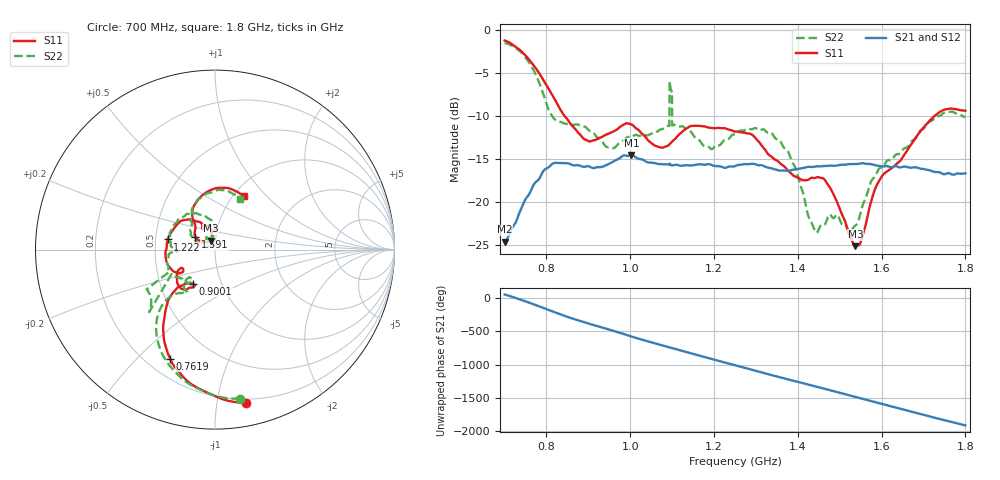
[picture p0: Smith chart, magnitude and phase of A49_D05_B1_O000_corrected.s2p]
! Created with skrf 1.9.0 (http://scikit-rf.org).
# Hz S RI R 50.0
!freq ReS11 ImS11 ReS21 ImS21 ReS12 ImS12 ReS22 ImS22
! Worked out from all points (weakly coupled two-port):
!   1601 points, 700 MHz to 1.8 GHz, reference 50 ohm
!   highest |S21| = -14.53 dB at 1.002 GHz (marker M1); lowest = -24.6 dB at 700 MHz (marker M2)
!   lowest |S11| = -25.1 dB at 1.537 GHz (marker M3), VSWR 1.12, Z = 47.4 + j4.76 ohm
!   |S11| at or under -10 dB: 843.6 MHz to 1.726 GHz (882.2 MHz wide, 68.7 % of centre)
!   |S22| runs from -23.6 to -1.5 dB; largest |S21 - S12| = 0.0034
!   S11 on the Smith chart (normalised r, x): 700 MHz: 0.17, -1.21; 761.9 MHz: 0.29, -0.63; 900.1 MHz: 0.73, -0.29; 1.222 GHz: 0.58, +0.07; 1.591 GHz: 0.80, +0.11; 1.8 GHz: 1.12, +0.76
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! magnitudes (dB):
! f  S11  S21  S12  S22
! 700 MHz  -1.2  -24.6  -24.4  -1.5
! 761.9 MHz  -3.7  -18.7  -18.7  -4.0
! 816.9 MHz  -7.8  -15.5  -15.6  -10.2
! 883.6 MHz  -12.3  -15.8  -15.7  -11.2
! 900.1 MHz  -12.9  -15.8  -15.8  -11.6
! 949.6 MHz  -12.0  -15.5  -15.5  -13.6
! 1.002 GHz  -10.9  -14.5  -14.6  -12.4
! 1.067 GHz  -13.6  -15.5  -15.5  -11.7
! 1.088 GHz  -13.5  -15.6  -15.6  -11.1
! 1.099 GHz  -13.0  -15.7  -15.7  -7.1
! 1.106 GHz  -12.7  -15.7  -15.6  -11.0
! 1.222 GHz  -11.4  -16.0  -16.0  -12.9
! 1.25 GHz  -11.8  -15.8  -15.7  -12.1
! 1.357 GHz  -15.5  -16.3  -16.3  -12.8
! 1.394 GHz  -17.0  -16.2  -16.1  -16.0
! 1.434 GHz  -17.1  -15.9  -15.9  -22.5
! 1.473 GHz  -18.1  -15.8  -15.8  -21.5
! 1.537 GHz  -25.1  -15.5  -15.5  -22.7
! 1.591 GHz  -17.8  -15.8  -15.7  -16.3
! 1.617 GHz  -16.3  -15.9  -15.8  -15.1
! 1.733 GHz  -9.7  -16.5  -16.5  -10.0
! 1.8 GHz  -9.4  -16.6  -16.6  -10.1
